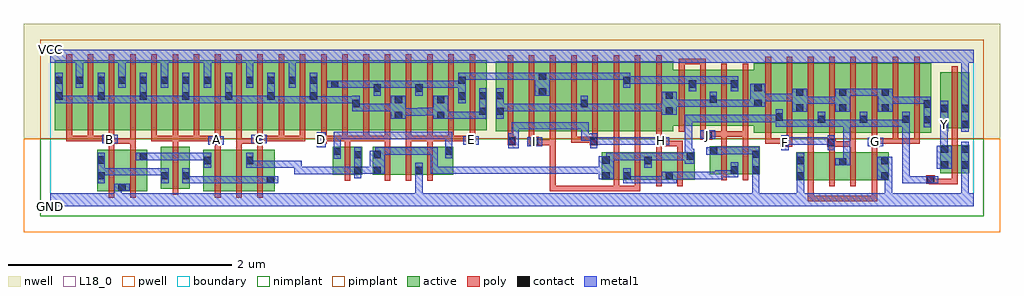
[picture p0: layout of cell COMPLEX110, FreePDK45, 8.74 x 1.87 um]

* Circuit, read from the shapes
.subckt COMPLEX110 A B C D E F G GND H I J VCC Y
M1 GND B n1 VSUBS nfet w=0.375u l=0.05u
M2 n2 B GND VSUBS nfet w=0.375u l=0.05u
M3 n3 A n1 VSUBS nfet w=0.375u l=0.05u
M4 n4 A n2 VSUBS nfet w=0.375u l=0.05u
M5 n5 C n4 VSUBS nfet w=0.375u l=0.05u
M6 n3 C n5 VSUBS nfet w=0.375u l=0.05u
M7 n5 D n6 VSUBS nfet w=0.25u l=0.05u
M8 n7 D n5 VSUBS nfet w=0.25u l=0.05u
M9 GND E n7 VSUBS nfet w=0.25u l=0.05u
M10 n6 E GND VSUBS nfet w=0.25u l=0.05u
M11 n8 I n5 VSUBS nfet w=0.25u l=0.05u m=2
M12 n8 H n5 VSUBS nfet w=0.25u l=0.05u m=2
M13 n8 J GND VSUBS nfet w=0.25u l=0.05u m=2
M14 n9 G GND VSUBS nfet w=0.25u l=0.05u
M15 n5 F n9 VSUBS nfet w=0.25u l=0.05u
M16 n10 F n5 VSUBS nfet w=0.25u l=0.05u
M17 GND G n10 VSUBS nfet w=0.25u l=0.05u
M18 GND n5 Y VSUBS nfet w=0.25u l=0.05u
M19 VCC B n11 n12 pfet w=0.625u l=0.05u m=4
M20 VCC A n11 n12 pfet w=0.625u l=0.05u m=4
M21 VCC C n11 n12 pfet w=0.625u l=0.05u m=4
M22 n13 D n11 n12 pfet w=0.625u l=0.05u m=4
M23 n13 E n11 n12 pfet w=0.625u l=0.05u m=4
M24 n14 H n15 n12 pfet w=0.625u l=0.05u
M25 n13 I n14 n12 pfet w=0.625u l=0.05u
M26 n16 I n13 n12 pfet w=0.625u l=0.05u
M27 n15 H n16 n12 pfet w=0.625u l=0.05u
M28 n17 H n15 n12 pfet w=0.625u l=0.05u
M29 n13 I n17 n12 pfet w=0.625u l=0.05u
M30 n18 I n13 n12 pfet w=0.625u l=0.05u
M31 n15 H n18 n12 pfet w=0.625u l=0.05u
M32 n13 J n15 n12 pfet w=0.5u l=0.05u m=4
M33 n5 F n15 n12 pfet w=0.625u l=0.05u m=4
M34 n5 G n15 n12 pfet w=0.625u l=0.05u m=4
M35 VCC n5 Y n12 pfet w=0.5u l=0.05u
.ends

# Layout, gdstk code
import gdstk
lib = gdstk.Library(unit=1e-6, precision=1e-09)
def R(c, l, rs):  # rectangles x0, y0, x1, y1
    for r in rs: c.add(gdstk.rectangle(r[:2], r[2:], *l))
def A(c, l, x, y, w, h, nx, ny, dx, dy):  # array of equal rectangles
    R(c, l, [(x+i*dx, y+j*dy, x+i*dx+w, y+j*dy+h) for i in range(nx) for j in range(ny)])
active = (1, 0)
pwell = (2, 0)
nwell = (3, 0)
nimplant = (4, 0)
pimplant = (5, 0)
poly = (9, 0)
contact = (10, 0)
metal1 = (11, 0)
L18_0 = (18, 0)
boundary = (235, 0)

complex110 = lib.new_cell('COMPLEX110')
A(complex110, active, 4.595, 0.672, 0.225, 0.625, 3, 1, 0.38, 0)
A(complex110, active, 0.225, 0.682, 0.075, 0.6, 3, 1, 0.38, 0)
A(complex110, active, 0.605, 0.682, 0.265, 0.625, 3, 1, 0.19, 0)
A(complex110, active, 1.37, 0.682, 0.265, 0.625, 9, 1, 0.19, 0)
A(complex110, active, 1.37, 0.682, 0.075, 0.6, 3, 1, 0.38, 0)
A(complex110, active, 1.56, 0.682, 0.075, 0.518, 3, 1, 0.38, 0)
A(complex110, active, 2.7, 0.682, 0.075, 0.388, 3, 1, 0.38, 0)
R(complex110, active, [(0.42,0.132,0.68,0.507), (0.605,0.132,0.68,0.467), (0.605,0.132,0.87,0.507), (1.37,0.132,1.595,0.507), (1.595,0.132,1.825,0.507), (1.75,0.132,2.01,0.507), (0.99,0.157,1.25,0.532), (0.42,0.172,0.495,0.507), (0.795,0.172,0.87,0.507), (0.99,0.172,1.065,0.532), (1.175,0.172,1.25,0.532), (1.37,0.172,1.475,0.507), (1.75,0.172,1.825,0.467), (1.935,0.172,2.01,0.507), (6.68,0.232,6.755,0.482), (6.68,0.232,6.905,0.482), (6.905,0.232,7.135,0.482), (7.06,0.232,7.285,0.482), (7.06,0.232,7.135,0.467), (7.285,0.232,7.51,0.482), (7.435,0.232,7.51,0.482), (4.94,0.235,5.015,0.485), (4.94,0.235,5.202,0.485), (5.127,0.235,5.39,0.485), (5.127,0.235,5.202,0.387), (5.315,0.235,5.58,0.485), (5.505,0.235,5.77,0.485), (5.505,0.237,5.58,0.405), (2.532,0.282,2.792,0.532), (2.717,0.282,2.792,0.532), (2.89,0.282,2.965,0.532), (2.89,0.282,3.115,0.532), (3.115,0.282,3.34,0.532), (3.265,0.282,3.34,0.532), (3.265,0.282,3.607,0.532), (5.905,0.287,6.165,0.537), (6.09,0.287,6.355,0.537), (6.09,0.287,6.165,0.412), (6.28,0.287,6.355,0.537), (2.532,0.297,2.607,0.532), (3.532,0.297,3.607,0.532), (5.315,0.297,5.39,0.447), (5.695,0.297,5.77,0.485), (5.905,0.297,5.98,0.537), (7.97,0.297,8.045,0.547), (7.97,0.297,8.23,0.547), (8.155,0.297,8.23,0.547), (6.3,0.657,6.565,1.282), (6.49,0.657,6.75,1.282), (6.675,0.657,6.945,1.282), (6.87,0.657,7.135,1.282), (7.06,0.657,7.32,1.282), (7.245,0.657,7.515,1.282), (7.44,0.657,7.7,1.282), (7.625,0.657,7.89,1.282), (7.625,0.657,7.7,1.07), (7.815,0.657,7.89,1.2), (3.99,0.672,4.215,1.297), (3.99,0.672,4.095,1.07), (4.215,0.672,4.445,1.297), (4.37,0.672,4.595,1.297), (4.745,0.672,4.975,1.297), (5.125,0.672,5.355,1.297), (0.04,0.682,0.3,1.307), (0.04,0.682,0.115,1.2), (0.225,0.682,0.495,1.307), (0.42,0.682,0.68,1.307), (0.42,0.682,0.495,1.2), (0.795,0.682,0.87,1.2), (1.175,0.682,1.25,1.2), (1.175,0.682,1.445,1.307), (2.51,0.682,2.585,1.2), (2.89,0.682,2.965,1.2), (3.08,0.682,3.34,1.307), (3.265,0.682,3.34,1.2), (3.265,0.682,3.535,1.307), (3.46,0.682,3.725,1.307), (3.65,0.682,3.91,1.307), (3.65,0.682,3.725,1.2), (3.835,0.682,3.91,1.07), (4.37,0.682,4.445,1.2), (4.745,0.682,4.82,1.07), (5.125,0.682,5.2,1.2), (6.49,0.682,6.565,1.07), (6.675,0.682,6.75,1.2), (6.87,0.682,6.945,1.07), (7.06,0.682,7.135,1.2), (7.245,0.682,7.32,1.07), (7.44,0.682,7.515,1.2), (7.97,0.697,8.045,1.157), (7.97,0.697,8.23,1.197), (8.155,0.697,8.23,1.157), (5.505,0.722,5.79,1.222), (5.505,0.722,5.58,1.07), (5.715,0.722,5.975,1.222), (5.9,0.722,6.165,1.222), (6.09,0.722,6.375,1.222), (5.715,0.737,5.79,1.157), (5.9,0.762,5.975,1.07), (6.3,0.762,6.375,1.2), (6.09,0.8,6.165,1.2)])
R(complex110, pwell, [(-0.235,-0.235,8.505,0.602)])
R(complex110, nwell, [(-0.235,0.602,8.505,1.635)])
R(complex110, nimplant, [(-0.09,-0.09,8.36,0.602)])
R(complex110, pimplant, [(-0.09,0.602,8.36,1.49)])
A(complex110, poly, 1.475, 0.077, 0.05, 0.485, 3, 1, 0.19, 0)
A(complex110, poly, 6.785, 0.177, 0.05, 0.36, 4, 1, 0.19, 0)
A(complex110, poly, 5.045, 0.18, 0.05, 0.36, 4, 1, 0.19, 0)
A(complex110, poly, 2.995, 0.227, 0.05, 0.36, 3, 1, 0.19, 0)
A(complex110, poly, 6.975, 0.487, 0.05, 0.095, 3, 1, 0.19, 0)
A(complex110, poly, 1.475, 0.512, 0.05, 0.095, 3, 1, 0.19, 0)
A(complex110, poly, 2.995, 0.537, 0.05, 0.095, 3, 1, 0.19, 0)
A(complex110, poly, 6.405, 0.557, 0.05, 0.095, 4, 1, 0.19, 0)
A(complex110, poly, 7.355, 0.557, 0.05, 0.095, 3, 1, 0.19, 0)
A(complex110, poly, 4.855, 0.572, 0.05, 0.095, 3, 1, 0.19, 0)
A(complex110, poly, 0.145, 0.582, 0.05, 0.095, 3, 1, 0.19, 0)
A(complex110, poly, 0.905, 0.582, 0.05, 0.095, 4, 1, 0.19, 0)
A(complex110, poly, 1.855, 0.582, 0.05, 0.095, 11, 1, 0.19, 0)
A(complex110, poly, 2.045, 0.582, 0.24, 0.05, 4, 1, 0.38, 0)
A(complex110, poly, 2.805, 0.582, 0.05, 0.05, 4, 1, 0.19, 0)
A(complex110, poly, 6.405, 0.602, 0.05, 0.735, 8, 1, 0.19, 0)
A(complex110, poly, 4.095, 0.617, 0.05, 0.735, 8, 1, 0.19, 0)
A(complex110, poly, 5.82, 0.622, 0.05, 0.095, 3, 1, 0.19, 0)
A(complex110, poly, 0.145, 0.627, 0.05, 0.735, 20, 1, 0.19, 0)
A(complex110, poly, 5.63, 0.667, 0.05, 0.61, 4, 1, 0.19, 0)
R(complex110, poly, [(6.785,0.045,6.835,0.095), (6.785,0.045,6.835,0.095), (6.785,0.045,6.835,0.095), (6.785,0.045,6.835,0.227), (6.785,0.045,7.082,0.095), (7.032,0.045,7.082,0.095), (7.032,0.045,7.082,0.095), (7.032,0.045,7.082,0.095), (7.032,0.045,7.272,0.095), (7.222,0.045,7.272,0.095), (7.222,0.045,7.405,0.095), (7.355,0.045,7.405,0.095), (7.355,0.045,7.405,0.095), (7.355,0.045,7.405,0.095), (7.355,0.045,7.405,0.227), (0.525,0.077,0.575,0.562), (0.715,0.077,0.765,0.562), (1.095,0.102,1.145,0.587), (4.475,0.135,4.525,0.185), (4.475,0.135,4.525,0.185), (4.475,0.135,4.525,0.185), (4.475,0.135,4.525,0.185), (4.475,0.135,4.525,0.185), (4.475,0.135,4.525,0.185), (4.475,0.135,4.525,0.185), (4.475,0.135,4.657,0.185), (4.475,0.135,4.525,0.595), (4.607,0.135,4.657,0.185), (4.607,0.135,4.657,0.185), (4.607,0.135,4.657,0.185), (4.607,0.135,4.962,0.185), (4.912,0.135,4.962,0.185), (4.912,0.135,4.962,0.185), (4.912,0.135,4.962,0.185), (4.912,0.135,5.095,0.185), (5.045,0.135,5.095,0.23), (5.045,0.135,5.095,0.185), (5.045,0.135,5.095,0.185), (5.045,0.135,5.095,0.185), (5.045,0.135,5.285,0.185), (5.235,0.135,5.285,0.23), (5.235,0.135,5.285,0.185), (7.87,0.197,7.92,0.247), (7.87,0.197,7.92,0.247), (7.87,0.197,8.125,0.247), (7.87,0.197,7.92,0.25), (8.075,0.197,8.125,0.292), (8.075,0.197,8.125,0.247), (8.075,0.197,8.125,0.247), (8.075,0.197,8.125,0.247), (7.845,0.2,7.92,0.275), (7.87,0.2,7.92,0.25), (2.637,0.227,2.687,0.587), (6.01,0.232,6.06,0.592), (6.2,0.232,6.25,0.592), (8.075,0.242,8.125,0.602), (6.785,0.487,6.835,0.607), (5.045,0.49,5.095,0.622), (5.235,0.49,5.285,0.622), (5.425,0.49,5.475,0.585), (5.615,0.49,5.665,0.585), (0.525,0.512,0.575,0.607), (0.715,0.512,0.765,0.607), (6.542,0.532,6.645,0.607), (6.957,0.532,7.032,0.607), (6.982,0.532,7.215,0.582), (7.165,0.532,7.215,0.582), (7.165,0.532,7.215,0.582), (7.165,0.532,7.215,0.582), (7.165,0.532,7.215,0.652), (7.355,0.532,7.43,0.607), (5.425,0.535,5.512,0.62), (5.462,0.535,5.512,0.585), (5.462,0.535,5.512,0.585), (5.462,0.535,5.665,0.585), (5.615,0.535,5.665,0.585), (1.095,0.537,1.145,0.632), (2.637,0.537,2.687,0.632), (6.01,0.542,6.06,0.672), (6.2,0.542,6.25,0.672), (4.285,0.545,4.375,0.62), (4.325,0.545,4.375,0.595), (4.325,0.545,4.375,0.595), (4.325,0.545,4.525,0.595), (4.475,0.545,4.525,0.595), (4.475,0.545,4.525,0.667), (4.095,0.547,4.17,0.622), (4.83,0.547,4.905,0.622), (8.075,0.552,8.125,0.647), (0.5,0.557,0.575,0.632), (0.525,0.557,0.575,0.607), (0.525,0.557,0.575,0.607), (0.525,0.557,0.765,0.607), (0.715,0.557,0.765,0.607), (0.715,0.557,0.765,0.677), (1.45,0.557,1.525,0.632), (1.665,0.557,1.715,0.607), (1.665,0.557,1.715,0.607), (1.665,0.557,1.715,0.607), (1.665,0.557,1.715,0.677), (1.665,0.557,1.882,0.607), (1.832,0.557,1.907,0.632), (2.395,0.557,2.475,0.632), (3.73,0.557,3.805,0.632), (6.405,0.557,6.455,0.607), (6.405,0.557,6.592,0.607), (6.542,0.557,6.592,0.607), (6.542,0.557,6.592,0.607), (6.785,0.557,6.835,0.607), (7.38,0.557,7.595,0.607), (7.545,0.557,7.595,0.607), (7.545,0.557,7.595,0.607), (7.545,0.557,7.595,0.607), (7.545,0.557,7.785,0.607), (7.735,0.557,7.785,0.607), (7.735,0.557,7.785,0.607), (7.735,0.557,7.785,0.607), (4.285,0.57,4.335,0.667), (4.665,0.57,4.715,0.62), (4.665,0.57,4.715,0.62), (4.665,0.57,4.715,0.62), (4.665,0.57,4.88,0.62), (4.665,0.57,4.715,0.667), (5.425,0.57,5.475,0.667), (4.095,0.572,4.145,0.667), (5.045,0.572,5.095,0.622), (5.235,0.572,5.285,0.622), (0.145,0.582,0.195,0.632), (0.145,0.582,0.195,0.632), (0.145,0.582,0.195,0.632), (0.145,0.582,0.385,0.632), (0.335,0.582,0.385,0.632), (0.335,0.582,0.385,0.632), (0.335,0.582,0.385,0.632), (0.335,0.582,0.55,0.632), (0.905,0.582,0.955,0.632), (0.905,0.582,1.145,0.632), (1.095,0.582,1.145,0.632), (1.095,0.582,1.145,0.632), (1.095,0.582,1.145,0.632), (1.095,0.582,1.335,0.632), (1.285,0.582,1.335,0.632), (1.285,0.582,1.335,0.632), (1.285,0.582,1.335,0.632), (1.285,0.582,1.5,0.632), (1.45,0.582,1.5,0.632), (1.45,0.582,1.5,0.632), (1.857,0.582,1.907,0.632), (1.857,0.582,1.907,0.632), (1.857,0.582,2.095,0.632), (2.045,0.582,2.095,0.632), (2.235,0.582,2.285,0.632), (2.235,0.582,2.285,0.632), (2.235,0.582,2.285,0.632), (2.425,0.582,2.475,0.632), (2.425,0.582,2.475,0.632), (2.615,0.582,2.687,0.632), (2.637,0.582,2.687,0.632), (2.637,0.582,2.687,0.632), (2.637,0.582,2.855,0.632), (2.805,0.582,2.855,0.632), (2.805,0.582,2.855,0.632), (3.375,0.582,3.425,0.632), (3.375,0.582,3.425,0.632), (3.375,0.582,3.615,0.632), (3.565,0.582,3.615,0.632), (3.565,0.582,3.615,0.632), (3.565,0.582,3.615,0.632), (3.565,0.582,3.78,0.632), (3.73,0.582,3.78,0.632), (3.73,0.582,3.78,0.632), (5.82,0.597,5.927,0.672), (8.075,0.597,8.125,0.692), (8.075,0.597,8.125,0.647), (5.877,0.622,5.927,0.672), (5.877,0.622,5.927,0.672), (5.877,0.622,6.06,0.672), (6.01,0.622,6.06,0.672), (6.01,0.622,6.25,0.672), (6.2,0.622,6.25,0.672), (6.2,0.622,6.25,0.672), (6.2,0.622,6.25,0.672), (8.075,0.642,8.125,1.252), (5.63,1.227,5.68,1.322), (5.82,1.227,5.87,1.322), (5.63,1.272,5.68,1.322), (5.63,1.272,5.68,1.322), (5.63,1.272,5.68,1.322), (5.63,1.272,5.87,1.322), (5.82,1.272,5.87,1.322)])
A(complex110, contact, 1.565, 0.955, 0.065, 0.065, 3, 1, 0.38, 0)
A(complex110, contact, 0.61, 1.095, 0.065, 0.065, 4, 1, 0.19, 0)
A(complex110, contact, 1.375, 1.095, 0.065, 0.065, 6, 1, 0.19, 0)
R(complex110, contact, [(0.61,0.137,0.675,0.202), (1.94,0.205,2.005,0.27), (7.85,0.205,7.915,0.27), (6.685,0.237,6.75,0.302), (7.44,0.237,7.505,0.302), (0.425,0.24,0.49,0.305), (0.995,0.24,1.06,0.305), (1.18,0.24,1.245,0.305), (4.945,0.24,5.01,0.305), (5.132,0.24,5.197,0.305), (5.51,0.242,5.575,0.307), (2.722,0.287,2.787,0.352), (2.895,0.29,2.96,0.355), (3.27,0.29,3.335,0.355), (6.095,0.292,6.16,0.357), (6.285,0.292,6.35,0.357), (7.975,0.337,8.04,0.402), (8.16,0.337,8.225,0.402), (7.065,0.365,7.13,0.43), (1.375,0.377,1.44,0.442), (1.755,0.377,1.82,0.442), (5.32,0.377,5.385,0.442), (6.685,0.377,6.75,0.442), (7.44,0.377,7.505,0.442), (0.425,0.38,0.49,0.445), (4.945,0.38,5.01,0.445), (0.8,0.412,0.865,0.477), (5.7,0.415,5.765,0.48), (2.722,0.427,2.787,0.492), (2.895,0.43,2.96,0.495), (6.285,0.432,6.35,0.497), (2.537,0.46,2.602,0.525), (3.537,0.462,3.602,0.527), (5.91,0.462,5.975,0.527), (7.975,0.477,8.04,0.542), (8.16,0.477,8.225,0.542), (6.547,0.537,6.612,0.602), (6.962,0.537,7.027,0.602), (7.36,0.537,7.425,0.602), (4.305,0.55,4.37,0.615), (5.442,0.55,5.507,0.615), (4.1,0.552,4.165,0.617), (4.835,0.552,4.9,0.617), (0.505,0.562,0.57,0.627), (1.455,0.562,1.52,0.627), (1.837,0.562,1.902,0.627), (2.4,0.562,2.465,0.627), (3.735,0.562,3.8,0.627), (5.857,0.602,5.922,0.667), (7.975,0.702,8.04,0.767), (8.16,0.702,8.225,0.767), (7.82,0.742,7.885,0.807), (6.875,0.745,6.94,0.81), (7.25,0.745,7.315,0.81), (7.63,0.745,7.695,0.81), (6.495,0.767,6.56,0.832), (3.085,0.782,3.15,0.847), (3.465,0.782,3.53,0.847), (3.84,0.817,3.905,0.882), (3.995,0.817,4.06,0.882), (5.51,0.82,5.575,0.885), (7.975,0.842,8.04,0.907), (8.16,0.842,8.225,0.907), (6.68,0.847,6.745,0.912), (7.065,0.847,7.13,0.912), (7.445,0.847,7.51,0.912), (7.82,0.882,7.885,0.947), (2.705,0.887,2.77,0.952), (4.75,0.887,4.815,0.952), (6.305,0.89,6.37,0.955), (3.085,0.922,3.15,0.987), (3.465,0.922,3.53,0.987), (5.905,0.925,5.97,0.99), (0.045,0.955,0.11,1.02), (0.425,0.955,0.49,1.02), (0.8,0.955,0.865,1.02), (1.18,0.955,1.245,1.02), (3.655,0.955,3.72,1.02), (3.84,0.957,3.905,1.022), (3.995,0.957,4.06,1.022), (5.51,0.96,5.575,1.025), (6.68,0.987,6.745,1.052), (7.065,0.987,7.13,1.052), (7.445,0.987,7.51,1.052), (4.375,0.99,4.44,1.055), (2.895,1.025,2.96,1.09), (3.27,1.025,3.335,1.09), (6.305,1.03,6.37,1.095), (2.515,1.06,2.58,1.125), (5.72,1.062,5.785,1.127), (6.095,1.062,6.16,1.127), (0.045,1.095,0.11,1.16), (0.23,1.095,0.295,1.16), (0.425,1.095,0.49,1.16), (3.655,1.095,3.72,1.16), (5.13,1.095,5.195,1.16), (4.375,1.13,4.44,1.195)])
A(complex110, metal1, 1.565, 0.92, 0.065, 0.275, 3, 1, 0.38, 0)
A(complex110, metal1, 0.23, 1.06, 0.065, 0.135, 3, 1, 0.38, 0)
A(complex110, metal1, 1.375, 1.06, 0.065, 0.135, 3, 1, 0.38, 0)
A(complex110, metal1, 0.23, 1.13, 0.065, 0.22, 3, 1, 0.38, 0)
A(complex110, metal1, 1.375, 1.13, 0.065, 0.22, 3, 1, 0.38, 0)
R(complex110, metal1, [(0,0,8.27,0.115), (0.575,0.05,0.64,0.202), (3.27,0.05,3.335,0.115), (3.27,0.05,3.335,0.115), (3.27,0.05,3.335,0.32), (6.285,0.05,6.35,0.115), (6.285,0.05,6.35,0.115), (6.285,0.05,6.35,0.322), (6.685,0.05,6.75,0.267), (7.475,0.05,7.54,0.302), (8.16,0.05,8.225,0.115), (8.16,0.05,8.225,0.115), (8.16,0.05,8.225,0.115), (8.16,0.05,8.225,0.115), (8.16,0.05,8.225,0.367), (0.575,0.137,0.64,0.202), (0.575,0.137,0.64,0.202), (0.575,0.137,0.71,0.202), (6.685,0.202,6.75,0.267), (6.685,0.202,6.75,0.267), (6.685,0.202,6.75,0.267), (6.685,0.202,6.75,0.267), (6.685,0.202,6.75,0.477), (0.425,0.205,0.49,0.48), (0.995,0.205,1.06,0.34), (1.18,0.205,1.245,0.27), (1.18,0.205,1.245,0.27), (1.18,0.205,1.382,0.27), (1.18,0.205,1.245,0.34), (1.317,0.205,1.382,0.27), (1.317,0.205,1.382,0.27), (1.317,0.205,1.382,0.27), (1.317,0.205,1.682,0.27), (1.617,0.205,1.682,0.27), (1.617,0.205,1.682,0.27), (1.617,0.205,1.682,0.27), (1.617,0.205,1.82,0.27), (1.755,0.205,1.82,0.27), (1.755,0.205,1.82,0.27), (1.755,0.205,1.82,0.27), (1.755,0.205,1.97,0.27), (1.905,0.205,2.04,0.27), (5.132,0.205,5.197,0.27), (5.132,0.205,5.197,0.27), (5.132,0.205,5.197,0.34), (5.132,0.205,5.402,0.27), (5.337,0.205,5.402,0.27), (5.337,0.205,5.54,0.27), (5.475,0.205,5.54,0.27), (5.475,0.205,5.54,0.27), (5.475,0.205,5.61,0.307), (7.63,0.205,7.695,0.27), (7.63,0.205,7.695,0.27), (7.63,0.205,7.695,0.27), (7.63,0.205,7.695,0.27), (7.63,0.205,7.695,0.27), (7.63,0.205,7.88,0.27), (7.63,0.205,7.695,0.775), (7.815,0.205,7.95,0.27), (7.405,0.237,7.54,0.442), (7.475,0.237,7.54,0.302), (7.475,0.237,7.54,0.302), (7.475,0.237,7.54,0.302), (7.475,0.237,7.54,0.302), (4.91,0.24,5.045,0.445), (5.545,0.242,5.677,0.307), (5.612,0.242,5.677,0.307), (5.612,0.242,5.747,0.307), (5.682,0.242,5.747,0.307), (5.682,0.242,5.885,0.307), (5.82,0.242,5.885,0.307), (5.82,0.242,6.022,0.307), (5.957,0.242,6.022,0.307), (5.957,0.242,6.022,0.307), (5.957,0.242,6.022,0.322), (2.722,0.252,2.787,0.527), (3.27,0.255,3.335,0.32), (3.27,0.255,3.335,0.32), (3.27,0.255,3.335,0.39), (5.957,0.257,6.16,0.322), (6.095,0.257,6.16,0.392), (6.285,0.257,6.35,0.322), (6.285,0.257,6.35,0.322), (6.285,0.257,6.35,0.532), (0.425,0.275,0.49,0.34), (0.425,0.275,0.49,0.34), (0.425,0.275,0.692,0.34), (0.627,0.275,0.692,0.34), (0.627,0.275,0.692,0.34), (0.627,0.275,0.692,0.34), (0.627,0.275,0.88,0.34), (0.815,0.275,0.88,0.34), (0.815,0.275,0.88,0.34), (0.815,0.275,0.88,0.34), (0.815,0.275,1.06,0.34), (2.187,0.287,2.39,0.352), (2.187,0.287,2.252,0.407), (2.325,0.287,2.39,0.352), (2.325,0.287,2.39,0.352), (2.325,0.287,2.39,0.352), (2.325,0.287,2.632,0.352), (2.567,0.287,2.632,0.352), (2.567,0.287,2.632,0.352), (2.567,0.287,2.632,0.352), (2.567,0.287,2.787,0.352), (2.722,0.29,2.787,0.355), (2.722,0.29,2.787,0.355), (2.722,0.29,2.925,0.355), (2.86,0.29,2.995,0.495), (3.407,0.29,3.472,0.355), (3.407,0.29,3.537,0.355), (3.407,0.29,3.472,0.527), (3.472,0.29,3.537,0.355), (3.472,0.29,3.627,0.355), (3.562,0.29,3.627,0.355), (3.562,0.29,3.767,0.355), (3.702,0.29,3.767,0.355), (3.702,0.29,3.767,0.355), (3.702,0.29,3.767,0.355), (3.702,0.29,4.027,0.355), (3.962,0.29,4.027,0.355), (3.962,0.29,4.027,0.355), (3.962,0.29,4.027,0.355), (3.962,0.29,4.197,0.355), (4.132,0.29,4.197,0.355), (4.132,0.29,4.197,0.355), (4.132,0.29,4.197,0.355), (4.132,0.29,4.475,0.355), (4.41,0.29,4.475,0.355), (4.41,0.29,4.475,0.355), (4.41,0.29,4.475,0.355), (4.41,0.29,4.612,0.355), (4.547,0.29,4.612,0.355), (4.547,0.29,4.612,0.355), (4.547,0.29,4.612,0.355), (4.547,0.29,4.762,0.355), (4.697,0.29,4.762,0.355), (4.697,0.29,4.762,0.355), (4.697,0.29,4.762,0.355), (4.697,0.29,4.9,0.355), (4.835,0.29,4.9,0.355), (4.835,0.29,4.975,0.355), (8.16,0.302,8.225,0.577), (7.94,0.337,8.075,0.542), (1.375,0.342,1.44,0.477), (1.755,0.342,1.82,0.407), (1.755,0.342,1.82,0.407), (1.755,0.342,1.82,0.477), (1.755,0.342,2.062,0.407), (1.997,0.342,2.062,0.407), (1.997,0.342,2.062,0.407), (1.997,0.342,2.062,0.407), (1.997,0.342,2.252,0.407), (2.187,0.342,2.252,0.407), (2.187,0.342,2.252,0.407), (5.32,0.342,5.385,0.477), (7.03,0.365,7.165,0.43), (7.1,0.365,7.165,0.775), (4.98,0.38,5.045,0.477), (5.682,0.38,5.765,0.515), (0.765,0.412,0.9,0.477), (0.835,0.412,0.9,0.477), (0.835,0.412,0.9,0.477), (0.835,0.412,1.037,0.477), (0.972,0.412,1.037,0.477), (0.972,0.412,1.037,0.477), (0.972,0.412,1.037,0.477), (0.972,0.412,1.245,0.477), (1.18,0.412,1.245,0.477), (1.18,0.412,1.245,0.477), (1.18,0.412,1.245,0.477), (1.18,0.412,1.44,0.477), (4.98,0.412,5.045,0.477), (4.98,0.412,5.045,0.477), (4.98,0.412,5.045,0.477), (4.98,0.412,5.182,0.477), (5.117,0.412,5.182,0.477), (5.117,0.412,5.182,0.477), (5.117,0.412,5.182,0.477), (5.117,0.412,5.385,0.477), (5.32,0.412,5.54,0.477), (5.475,0.412,5.54,0.477), (5.475,0.412,5.54,0.477), (5.475,0.412,5.54,0.477), (5.475,0.412,5.677,0.477), (5.612,0.412,5.677,0.477), (5.612,0.412,5.747,0.477), (2.537,0.425,2.602,0.56), (3.537,0.427,3.602,0.562), (2.912,0.43,2.977,0.527), (5.682,0.45,5.747,0.515), (5.682,0.45,5.747,0.515), (5.682,0.45,5.747,0.817), (2.912,0.462,2.977,0.527), (2.912,0.462,2.977,0.527), (2.912,0.462,2.977,0.527), (2.912,0.462,3.197,0.527), (3.132,0.462,3.197,0.527), (3.132,0.462,3.197,0.527), (3.132,0.462,3.197,0.527), (3.132,0.462,3.335,0.527), (3.27,0.462,3.335,0.527), (3.27,0.462,3.472,0.527), (3.407,0.462,3.472,0.527), (5.875,0.462,6.01,0.527), (5.945,0.462,6.022,0.527), (5.957,0.462,6.022,0.53), (5.957,0.465,6.197,0.53), (6.132,0.465,6.197,0.53), (6.132,0.465,6.197,0.53), (6.132,0.465,6.197,0.53), (6.132,0.465,6.35,0.53), (6.285,0.465,6.35,0.53), (6.285,0.465,6.35,0.532), (7.972,0.477,8.037,0.542), (7.972,0.477,8.037,0.542), (7.972,0.477,8.037,0.542), (7.972,0.477,8.037,0.542), (7.972,0.477,8.037,0.542), (7.972,0.477,8.037,0.542), (7.972,0.477,8.037,0.732), (2.537,0.495,2.602,0.665), (3.537,0.497,3.602,0.665), (6.547,0.502,6.612,0.637), (6.962,0.502,7.027,0.637), (4.1,0.517,4.197,0.652), (4.835,0.517,4.9,0.652), (2.385,0.527,2.465,0.662), (7.322,0.535,7.46,0.612), (4.27,0.537,4.407,0.615), (1.417,0.55,1.555,0.627), (3.7,0.55,3.837,0.627), (4.835,0.55,5.037,0.615), (4.972,0.55,5.037,0.615), (4.972,0.55,5.037,0.615), (4.972,0.55,5.037,0.615), (4.972,0.55,5.195,0.615), (5.13,0.55,5.195,0.615), (5.13,0.55,5.195,0.615), (5.13,0.55,5.195,0.615), (5.13,0.55,5.402,0.615), (5.337,0.55,5.402,0.615), (5.337,0.55,5.472,0.615), (5.407,0.55,5.542,0.617), (6.547,0.55,6.802,0.615), (6.737,0.55,6.802,0.615), (6.737,0.55,6.802,0.615), (6.737,0.55,6.802,0.615), (6.737,0.55,6.957,0.615), (6.892,0.55,6.957,0.615), (6.892,0.55,7.027,0.615), (0.467,0.562,0.605,0.64), (1.802,0.562,1.937,0.64), (4.757,0.585,4.822,0.65), (4.757,0.585,4.9,0.65), (4.757,0.585,4.822,0.752), (4.132,0.587,4.197,0.652), (4.132,0.587,4.197,0.652), (4.132,0.587,4.197,0.752), (2.537,0.6,2.602,0.665), (2.537,0.6,2.602,0.665), (2.537,0.6,2.602,0.665), (2.537,0.6,2.77,0.665), (2.705,0.6,2.77,0.665), (2.705,0.6,2.77,0.665), (2.705,0.6,2.77,0.665), (2.705,0.6,2.977,0.665), (2.912,0.6,2.977,0.665), (2.912,0.6,2.977,0.665), (2.912,0.6,2.977,0.665), (2.912,0.6,3.132,0.665), (3.067,0.6,3.132,0.665), (3.067,0.6,3.132,0.665), (3.067,0.6,3.132,0.665), (3.067,0.6,3.335,0.665), (3.27,0.6,3.335,0.665), (3.27,0.6,3.335,0.665), (3.27,0.6,3.335,0.665), (3.27,0.6,3.602,0.665), (3.537,0.6,3.602,0.665), (5.822,0.602,5.957,0.68), (7.972,0.667,8.037,0.732), (7.972,0.667,8.037,0.732), (7.972,0.667,8.04,0.942), (8.16,0.667,8.225,0.942), (4.132,0.687,4.197,0.752), (4.132,0.687,4.475,0.752), (4.41,0.687,4.475,0.752), (4.41,0.687,4.475,0.752), (4.41,0.687,4.475,0.752), (4.41,0.687,4.612,0.752), (4.547,0.687,4.612,0.752), (4.547,0.687,4.612,0.752), (4.547,0.687,4.612,0.752), (4.547,0.687,4.762,0.752), (4.697,0.687,4.762,0.752), (4.697,0.687,4.822,0.752), (4.757,0.687,4.822,0.752), (7.82,0.707,7.885,0.982), (6.495,0.71,6.772,0.775), (6.495,0.71,6.56,0.797), (6.707,0.71,6.772,0.775), (6.707,0.71,6.772,0.775), (6.707,0.71,6.772,0.775), (6.707,0.71,6.94,0.775), (6.875,0.71,6.94,0.775), (6.875,0.71,6.94,0.775), (6.875,0.71,6.94,0.845), (6.875,0.71,7.165,0.775), (7.1,0.71,7.165,0.775), (7.1,0.71,7.165,0.775), (7.1,0.71,7.165,0.775), (7.1,0.71,7.165,0.775), (7.1,0.71,7.165,0.775), (7.1,0.71,7.315,0.775), (7.25,0.71,7.315,0.845), (7.25,0.71,7.557,0.775), (7.492,0.71,7.557,0.775), (7.492,0.71,7.557,0.775), (7.492,0.71,7.557,0.775), (7.492,0.71,7.695,0.775), (7.63,0.71,7.695,0.775), (7.63,0.71,7.695,0.775), (7.63,0.71,7.695,0.845), (6.495,0.732,6.56,0.797), (6.495,0.732,6.56,0.867), (5.682,0.752,5.747,0.817), (5.682,0.752,5.885,0.817), (5.82,0.752,5.885,0.817), (5.82,0.752,6.022,0.817), (5.957,0.752,6.022,0.817), (5.957,0.752,6.022,0.817), (5.957,0.752,6.022,0.817), (5.957,0.752,6.197,0.817), (6.132,0.752,6.197,0.817), (6.132,0.752,6.197,0.817), (6.132,0.752,6.197,0.817), (6.132,0.752,6.335,0.817), (6.27,0.752,6.335,0.817), (6.27,0.752,6.335,0.817), (6.27,0.752,6.335,0.817), (6.27,0.752,6.56,0.817), (3.05,0.782,3.185,0.987), (3.43,0.782,3.565,0.987), (3.5,0.782,3.627,0.847), (3.562,0.782,3.627,0.847), (3.562,0.782,3.767,0.847), (3.702,0.782,3.767,0.847), (3.702,0.782,3.767,0.847), (3.702,0.782,3.767,0.847), (3.702,0.782,3.905,0.847), (3.84,0.782,3.905,1.057), (3.995,0.782,4.06,1.057), (3.12,0.81,3.185,0.875), (3.12,0.81,3.185,0.875), (3.12,0.81,3.357,0.875), (3.292,0.81,3.357,0.88), (3.292,0.815,3.357,0.88), (3.292,0.815,3.357,0.88), (3.292,0.815,3.495,0.88), (5.475,0.82,5.61,1.025), (6.645,0.847,6.78,1.052), (7.03,0.847,7.165,1.052), (7.41,0.847,7.545,1.052), (2.705,0.852,2.77,0.917), (2.705,0.852,2.77,0.917), (2.705,0.852,2.77,0.987), (2.705,0.852,2.925,0.917), (2.86,0.852,2.925,0.917), (2.86,0.852,2.925,0.917), (2.86,0.852,2.925,0.917), (2.86,0.852,3.115,0.917), (3.995,0.852,4.197,0.917), (4.132,0.852,4.197,0.917), (4.132,0.852,4.197,0.917), (4.132,0.852,4.197,0.917), (4.132,0.852,4.365,0.917), (4.3,0.852,4.365,0.917), (4.3,0.852,4.365,0.917), (4.3,0.852,4.365,0.917), (4.3,0.852,4.612,0.917), (4.547,0.852,4.612,0.917), (4.547,0.852,4.612,0.917), (4.547,0.852,4.612,0.917), (4.547,0.852,4.75,0.917), (4.685,0.852,4.75,0.917), (4.685,0.852,4.815,0.917), (4.75,0.852,4.815,0.987), (4.75,0.852,4.9,0.917), (4.835,0.852,4.9,0.917), (4.835,0.852,5.045,0.917), (4.98,0.852,5.045,0.917), (4.98,0.852,5.045,0.917), (4.98,0.852,5.045,0.917), (4.98,0.852,5.195,0.917), (5.13,0.852,5.195,0.917), (5.13,0.852,5.332,0.917), (5.267,0.852,5.332,0.917), (5.267,0.852,5.402,0.917), (5.337,0.852,5.402,0.917), (5.337,0.852,5.54,0.917), (5.475,0.852,5.54,0.917), (5.475,0.852,5.54,0.917), (8.16,0.877,8.225,0.942), (8.16,0.877,8.225,0.942), (8.16,0.877,8.225,1.35), (5.545,0.89,5.68,0.955), (5.615,0.89,5.68,0.955), (5.615,0.89,5.747,0.955), (5.682,0.89,5.747,0.955), (5.682,0.89,5.885,0.955), (5.82,0.89,5.885,0.955), (5.82,0.89,5.97,0.955), (5.905,0.89,5.97,1.025), (5.905,0.89,6.052,0.955), (5.987,0.89,6.052,0.955), (5.987,0.89,6.197,0.955), (6.132,0.89,6.197,0.955), (6.132,0.89,6.197,0.955), (6.132,0.89,6.197,0.955), (6.132,0.89,6.335,0.955), (6.27,0.89,6.405,1.095), (6.715,0.917,6.802,0.982), (6.737,0.917,6.802,0.982), (6.737,0.917,6.957,0.982), (6.892,0.917,6.957,0.982), (6.892,0.917,6.957,0.982), (6.892,0.917,6.957,0.982), (6.892,0.917,7.095,0.982), (7.48,0.917,7.73,0.982), (7.665,0.917,7.73,0.982), (7.665,0.917,7.73,0.982), (7.665,0.917,7.73,0.982), (7.665,0.917,7.867,0.982), (7.802,0.917,7.867,0.982), (7.802,0.917,7.885,0.982), (0.045,0.92,0.11,1.195), (0.425,0.92,0.49,1.195), (0.8,0.92,0.865,1.195), (1.18,0.92,1.245,0.985), (1.18,0.92,1.245,0.985), (1.18,0.92,1.245,1.195), (1.18,0.92,1.492,0.985), (1.427,0.92,1.492,0.985), (1.427,0.92,1.492,0.985), (1.427,0.92,1.492,0.985), (1.427,0.92,1.63,0.985), (1.945,0.92,2.01,0.985), (1.945,0.92,2.01,0.985), (1.945,0.92,2.252,0.985), (2.187,0.92,2.252,0.985), (2.187,0.92,2.252,0.985), (2.187,0.92,2.252,0.985), (2.187,0.92,2.39,0.985), (2.325,0.92,2.39,0.985), (2.325,0.92,2.39,0.985), (2.325,0.92,2.632,0.985), (2.567,0.92,2.632,0.985), (2.567,0.92,2.632,0.985), (2.567,0.92,2.632,0.985), (2.567,0.92,2.77,0.985), (3.655,0.92,3.72,1.195), (0.045,0.922,0.11,0.987), (0.045,0.922,0.11,0.987), (0.045,0.922,0.352,0.987), (0.287,0.922,0.352,0.987), (0.287,0.922,0.352,0.987), (0.287,0.922,0.352,0.987), (0.287,0.922,0.49,0.987), (0.425,0.922,0.49,0.987), (0.425,0.922,0.49,0.987), (0.425,0.922,0.627,0.987), (0.562,0.922,0.627,0.987), (0.562,0.922,0.742,0.987), (0.677,0.922,0.742,0.987), (0.677,0.922,0.865,0.987), (0.8,0.922,0.88,0.987), (0.815,0.922,0.88,0.987), (0.815,0.922,1.107,0.987), (1.042,0.922,1.107,0.987), (1.042,0.922,1.107,0.987), (1.042,0.922,1.107,0.987), (1.042,0.922,1.245,0.987), (1.565,0.922,1.63,0.987), (1.565,0.922,1.63,0.987), (1.565,0.922,1.832,0.987), (1.767,0.922,1.832,0.987), (1.767,0.922,1.832,0.987), (1.767,0.922,1.832,0.987), (1.767,0.922,2.01,0.987), (6.34,0.94,6.405,1.005), (6.34,0.94,6.405,1.005), (6.34,0.94,6.542,1.005), (6.477,0.94,6.542,1.005), (6.477,0.94,6.542,1.005), (6.477,0.94,6.542,1.005), (6.477,0.94,6.71,1.005), (7.1,0.987,7.165,1.052), (7.1,0.987,7.165,1.052), (7.1,0.987,7.302,1.052), (7.237,0.987,7.302,1.052), (7.237,0.987,7.475,1.052), (7.41,0.987,7.475,1.052), (7.41,0.987,7.475,1.052), (2.895,0.99,2.96,1.125), (3.27,0.99,3.335,1.125), (4.34,0.99,4.475,1.195), (5.72,1.027,5.785,1.162), (6.095,1.027,6.16,1.162), (2.48,1.06,2.615,1.125), (2.55,1.06,2.615,1.125), (2.55,1.06,2.615,1.125), (2.55,1.06,2.787,1.125), (2.722,1.06,2.787,1.125), (2.722,1.06,2.787,1.125), (2.722,1.06,2.787,1.125), (2.722,1.06,2.96,1.125), (2.895,1.06,2.96,1.125), (2.895,1.06,2.96,1.125), (2.895,1.06,3.197,1.125), (3.132,1.06,3.197,1.125), (3.132,1.06,3.197,1.125), (3.132,1.06,3.197,1.125), (3.132,1.06,3.335,1.125), (3.27,1.06,3.335,1.125), (3.27,1.06,3.335,1.125), (3.27,1.06,3.495,1.125), (3.43,1.06,3.495,1.125), (3.43,1.06,3.627,1.125), (3.562,1.06,3.627,1.125), (3.562,1.06,3.72,1.125), (5.13,1.06,5.195,1.195), (5.13,1.097,5.335,1.162), (5.27,1.097,5.335,1.162), (5.27,1.097,5.335,1.162), (5.27,1.097,5.335,1.162), (5.27,1.097,5.54,1.162), (5.475,1.097,5.54,1.162), (5.475,1.097,5.54,1.162), (5.475,1.097,5.54,1.162), (5.475,1.097,5.677,1.162), (5.612,1.097,5.677,1.162), (5.612,1.097,5.785,1.162), (5.72,1.097,5.885,1.162), (5.82,1.097,5.885,1.162), (5.82,1.097,6.022,1.162), (5.957,1.097,6.022,1.162), (5.957,1.097,6.022,1.162), (5.957,1.097,6.022,1.162), (5.957,1.097,6.16,1.162), (3.655,1.13,3.767,1.195), (3.702,1.13,3.767,1.195), (3.702,1.13,3.905,1.195), (3.84,1.13,3.905,1.195), (3.84,1.13,3.905,1.195), (3.84,1.13,3.905,1.195), (3.84,1.13,4.197,1.195), (4.132,1.13,4.197,1.195), (4.132,1.13,4.197,1.195), (4.132,1.13,4.197,1.195), (4.132,1.13,4.405,1.195), (4.34,1.13,4.405,1.195), (4.34,1.13,4.405,1.195), (4.41,1.13,4.612,1.195), (4.547,1.13,4.612,1.195), (4.547,1.13,4.612,1.195), (4.547,1.13,4.612,1.195), (4.547,1.13,4.75,1.195), (4.685,1.13,4.75,1.195), (4.685,1.13,4.75,1.195), (4.685,1.13,4.75,1.195), (4.685,1.13,4.9,1.195), (4.835,1.13,4.9,1.195), (4.835,1.13,5.045,1.195), (4.98,1.13,5.045,1.195), (4.98,1.13,5.045,1.195), (4.98,1.13,5.045,1.195), (4.98,1.13,5.195,1.195), (0,1.285,8.27,1.4)])
A(complex110, L18_0, 0.23, 1.06, 0.065, 0.135, 3, 1, 0.38, 0)
A(complex110, L18_0, 1.375, 1.06, 0.065, 0.135, 3, 1, 0.38, 0)
A(complex110, L18_0, 0.23, 1.13, 0.065, 0.22, 3, 1, 0.38, 0)
A(complex110, L18_0, 1.375, 1.13, 0.065, 0.22, 3, 1, 0.38, 0)
R(complex110, L18_0, [(0,0,8.27,0.115), (0.575,0.05,0.64,0.202), (3.27,0.05,3.335,0.115), (3.27,0.05,3.335,0.115), (3.27,0.05,3.335,0.32), (6.285,0.05,6.35,0.115), (6.285,0.05,6.35,0.115), (6.285,0.05,6.35,0.322), (6.685,0.05,6.75,0.267), (7.475,0.05,7.54,0.302), (8.16,0.05,8.225,0.115), (8.16,0.05,8.225,0.115), (8.16,0.05,8.225,0.115), (8.16,0.05,8.225,0.115), (8.16,0.05,8.225,0.367), (0.575,0.137,0.64,0.202), (0.575,0.137,0.64,0.202), (0.575,0.137,0.71,0.202), (6.685,0.202,6.75,0.267), (6.685,0.202,6.75,0.267), (6.685,0.202,6.75,0.267), (6.685,0.202,6.75,0.267), (6.685,0.202,6.75,0.477), (7.405,0.237,7.54,0.442), (7.475,0.237,7.54,0.302), (7.475,0.237,7.54,0.302), (7.475,0.237,7.54,0.302), (7.475,0.237,7.54,0.302), (3.27,0.255,3.335,0.39), (3.27,0.255,3.335,0.32), (3.27,0.255,3.335,0.32), (6.285,0.257,6.35,0.322), (6.285,0.257,6.35,0.322), (6.285,0.257,6.35,0.532), (8.16,0.302,8.225,0.577), (7.94,0.337,8.075,0.542), (5.875,0.462,6.01,0.527), (5.945,0.462,6.022,0.527), (5.957,0.462,6.022,0.53), (5.957,0.465,6.197,0.53), (6.132,0.465,6.197,0.53), (6.132,0.465,6.197,0.53), (6.132,0.465,6.197,0.53), (6.132,0.465,6.35,0.53), (6.285,0.465,6.35,0.53), (6.285,0.465,6.35,0.532), (7.972,0.477,8.037,0.542), (7.972,0.477,8.037,0.542), (7.972,0.477,8.037,0.542), (7.972,0.477,8.037,0.542), (7.972,0.477,8.037,0.542), (7.972,0.477,8.037,0.542), (7.972,0.477,8.037,0.732), (6.547,0.502,6.612,0.637), (6.962,0.502,7.027,0.637), (4.1,0.517,4.197,0.652), (4.835,0.517,4.9,0.652), (2.385,0.527,2.465,0.662), (7.322,0.535,7.46,0.612), (4.27,0.537,4.407,0.615), (6.547,0.537,6.612,0.602), (4.307,0.547,4.372,0.612), (7.357,0.547,7.422,0.612), (1.417,0.55,1.555,0.627), (3.7,0.55,3.837,0.627), (4.835,0.55,5.037,0.615), (4.972,0.55,5.037,0.615), (4.972,0.55,5.037,0.615), (4.972,0.55,5.037,0.615), (4.972,0.55,5.195,0.615), (5.13,0.55,5.195,0.615), (5.13,0.55,5.195,0.615), (5.13,0.55,5.195,0.615), (5.13,0.55,5.402,0.615), (5.337,0.55,5.402,0.615), (5.337,0.55,5.472,0.615), (5.407,0.55,5.542,0.617), (6.547,0.55,6.802,0.615), (6.737,0.55,6.802,0.615), (6.737,0.55,6.802,0.615), (6.737,0.55,6.802,0.615), (6.737,0.55,6.957,0.615), (6.892,0.55,6.957,0.615), (6.892,0.55,7.027,0.615), (5.442,0.552,5.507,0.617), (0.467,0.562,0.605,0.64), (0.502,0.562,0.567,0.627), (1.452,0.562,1.517,0.627), (1.802,0.562,1.937,0.64), (1.837,0.562,1.902,0.627), (2.397,0.562,2.462,0.627), (3.737,0.562,3.802,0.627), (4.757,0.585,4.822,0.65), (4.757,0.585,4.822,0.752), (4.757,0.585,4.9,0.65), (4.132,0.587,4.197,0.652), (4.132,0.587,4.197,0.652), (4.132,0.587,4.197,0.752), (5.822,0.602,5.957,0.68), (5.857,0.602,5.922,0.667), (7.972,0.667,8.037,0.732), (7.972,0.667,8.037,0.732), (7.972,0.667,8.04,0.942), (8.16,0.667,8.225,0.942), (4.132,0.687,4.197,0.752), (4.132,0.687,4.475,0.752), (4.41,0.687,4.475,0.752), (4.41,0.687,4.475,0.752), (4.41,0.687,4.475,0.752), (4.41,0.687,4.612,0.752), (4.547,0.687,4.612,0.752), (4.547,0.687,4.612,0.752), (4.547,0.687,4.612,0.752), (4.547,0.687,4.762,0.752), (4.697,0.687,4.762,0.752), (4.697,0.687,4.822,0.752), (4.757,0.687,4.822,0.752), (7.972,0.702,8.037,0.767), (8.16,0.877,8.225,0.942), (8.16,0.877,8.225,0.942), (8.16,0.877,8.225,1.35), (0,1.285,8.27,1.4)])
R(complex110, boundary, [(0,0,8.27,1.4)])
complex110.add(gdstk.Label('A', (1.485,0.595), layer=11, texttype=0))
complex110.add(gdstk.Label('B', (0.535,0.595), layer=11, texttype=0))
complex110.add(gdstk.Label('C', (1.87,0.595), layer=11, texttype=0))
complex110.add(gdstk.Label('D', (2.43,0.595), layer=11, texttype=0))
complex110.add(gdstk.Label('E', (3.77,0.595), layer=11, texttype=0))
complex110.add(gdstk.Label('F', (6.58,0.57), layer=11, texttype=0))
complex110.add(gdstk.Label('G', (7.39,0.58), layer=11, texttype=0))
complex110.add(gdstk.Label('H', (5.475,0.585), layer=11, texttype=0))
complex110.add(gdstk.Label('I', (4.34,0.58), layer=11, texttype=0))
complex110.add(gdstk.Label('J', (5.89,0.635), layer=11, texttype=0))
complex110.add(gdstk.Label('Y', (8.005,0.735), layer=11, texttype=0))
complex110.add(gdstk.Label('VCC', (0,1.4), layer=11, texttype=0))
complex110.add(gdstk.Label('GND', (0,0), layer=11, texttype=0))

lib.write_gds('COMPLEX110.gds')
